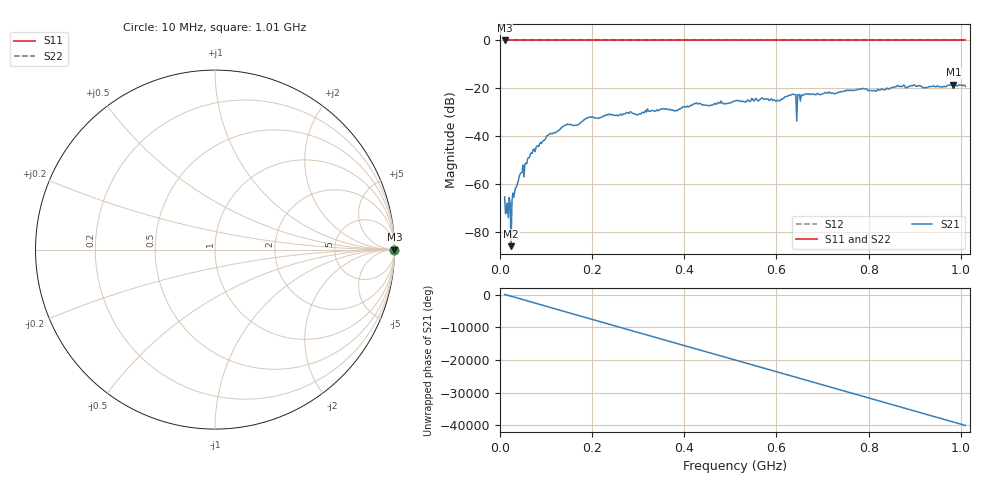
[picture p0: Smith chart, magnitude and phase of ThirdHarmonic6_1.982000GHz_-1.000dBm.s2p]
! 8/16/2025 11:50:05 PM
! C:\ANRITSUVNA\TEMP\TEMP.S2P
! CHANNEL.1
! TR.MEASUREMENT
! RAW.DATA
! RF.CORRECTION.OFF
! AVERAGING.OFF
! IF.BANDWIDTH: 5KHZ
! SWEEPTYPE:  FREQ.SWEEP(Linear)
! Reference Plane Port Info
! PORT:  PORT1  PORT2
! DISTANCE:  0  m  0  m
! TIME:  0  s  0  s
! PHASE.OFFSET:  0  deg.  0  deg.
! LOSS:  0  dB  0  dB
! REF.LOSS:  0  dB  0  dB
! REF.FREQ:  0  Hz  0  Hz
! Power Info
! POWER:  -20  dBm  -20  dBm
! EFF.POWER:  -20  dBm  -20  dBm
! SOURCE.ATTEN:  0  dB  0  dB
! TEST.ATTEN:  0  dB  0  dB
# GHZ S RI R 50.0
! FREQ.GHZ  S11RE  S11IM  S21RE  S21IM  S12RE  S12IM  S22RE  S22IM
!; PortSelection: Port_12
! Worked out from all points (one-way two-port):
!   501 points, 10 MHz to 1.01 GHz, reference 50 ohm
!   highest |S21| = -18.48 dB at 984 MHz (marker M1); lowest = -86.0 dB at 24 MHz (marker M2)
!   lowest |S11| = 0.0 dB at 10 MHz (marker M3)
!   |S11| at or under -10 dB: nowhere
!   |S22| runs from 0.0 to 0.0 dB; largest |S21 - S12| = 1.1
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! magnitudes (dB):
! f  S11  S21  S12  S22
! 10 MHz  0.0  -65.4  0.0  0.0
! 20 MHz  0.0  -65.7  0.0  0.0
! 24 MHz  0.0  -86.0  0.0  0.0
! 28 MHz  0.0  -63.8  0.0  0.0
! 30 MHz  0.0  -65.5  0.0  0.0
! 46 MHz  0.0  -55.3  0.0  0.0
! 70 MHz  0.0  -47.2  0.0  0.0
! 106 MHz  0.0  -39.3  0.0  0.0
! 142 MHz  0.0  -35.5  0.0  0.0
! 178 MHz  0.0  -34.0  0.0  0.0
! 196 MHz  0.0  -32.1  0.0  0.0
! 344 MHz  0.0  -29.4  0.0  0.0
! 510 MHz  0.0  -25.3  0.0  0.0
! 604 MHz  0.0  -25.1  0.0  0.0
! 638 MHz  0.0  -22.6  0.0  0.0
! 640 MHz  0.0  -22.6  0.0  0.0
! 648 MHz  0.0  -22.6  0.0  0.0
! 650 MHz  0.0  -22.8  0.0  0.0
! 678 MHz  0.0  -22.6  0.0  0.0
! 844 MHz  0.0  -20.4  0.0  0.0
! 984 MHz  0.0  -18.5  0.0  0.0
! 1.01 GHz  0.0  -19.2  0.0  0.0
